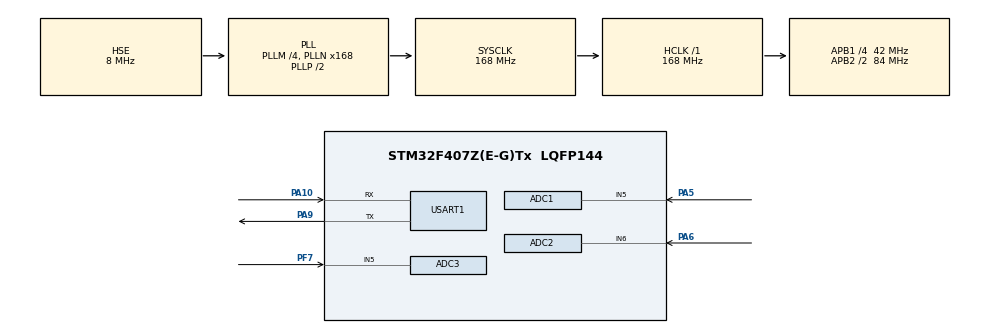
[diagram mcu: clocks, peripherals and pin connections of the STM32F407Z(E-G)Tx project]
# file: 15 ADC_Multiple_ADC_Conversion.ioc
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ADC1.Channel-1\#ChannelRegularConversion=ADC_CHANNEL_5
ADC1.DMAContinuousRequests=ENABLE
ADC1.ExternalTrigConv=ADC_EXTERNALTRIGCONV_T3_TRGO
ADC1.Mode=ADC_TRIPLEMODE_REGSIMULT
ADC1.NbrOfConversionFlag=1
ADC1.Rank-1\#ChannelRegularConversion=1
ADC1.SamplingTime-1\#ChannelRegularConversion=ADC_SAMPLETIME_15CYCLES
ADC1.master=1
ADC2.Channel-1\#ChannelRegularConversion=ADC_CHANNEL_6
ADC2.DMAAccessMode=ADC_DMAACCESSMODE_1
ADC2.Mode=ADC_TRIPLEMODE_REGSIMULT
ADC2.NbrOfConversionFlag=1
ADC2.Rank-1\#ChannelRegularConversion=1
ADC2.SamplingTime-1\#ChannelRegularConversion=ADC_SAMPLETIME_15CYCLES
ADC3.Channel-10\#ChannelRegularConversion=ADC_CHANNEL_5
ADC3.DMAAccessMode=ADC_DMAACCESSMODE_1
ADC3.NbrOfConversion=1
ADC3.NbrOfConversionFlag=1
ADC3.Rank-10\#ChannelRegularConversion=1
ADC3.SamplingTime-10\#ChannelRegularConversion=ADC_SAMPLETIME_15CYCLES
Dma.ADC1.0.Direction=DMA_PERIPH_TO_MEMORY
Dma.ADC1.0.FIFOMode=DMA_FIFOMODE_DISABLE
Dma.ADC1.0.Instance=DMA2_Stream0
Dma.ADC1.0.MemDataAlignment=DMA_MDATAALIGN_WORD
Dma.ADC1.0.MemInc=DMA_MINC_ENABLE
Dma.ADC1.0.Mode=DMA_CIRCULAR
Dma.ADC1.0.PeriphDataAlignment=DMA_PDATAALIGN_WORD
Dma.ADC1.0.PeriphInc=DMA_PINC_DISABLE
Dma.ADC1.0.Priority=DMA_PRIORITY_MEDIUM
Dma.Request0=ADC1
Mcu.Family=STM32F4
Mcu.Name=STM32F407Z(E-G)Tx
Mcu.Package=LQFP144
NVIC.DMA2_Stream0_IRQn=true\:1\:0\:true\:false\:true\:true\:true\:true
NVIC.PriorityGroup=NVIC_PRIORITYGROUP_4
PA10.Mode=Asynchronous
PA10.Signal=USART1_RX
PA13.Mode=Serial_Wire
PA13.Signal=SYS_JTMS-SWDIO
PA14.Mode=Serial_Wire
PA14.Signal=SYS_JTCK-SWCLK
PA5.Signal=ADCx_IN5
PA6.Signal=ADCx_IN6
PA9.Mode=Asynchronous
PA9.Signal=USART1_TX
PC14-OSC32_IN.Mode=LSE-External-Oscillator
PC14-OSC32_IN.Signal=RCC_OSC32_IN
PC15-OSC32_OUT.Mode=LSE-External-Oscillator
PC15-OSC32_OUT.Signal=RCC_OSC32_OUT
PF7.Mode=IN5
PF7.Signal=ADC3_IN5
PH0-OSC_IN.Mode=HSE-External-Oscillator
PH0-OSC_IN.Signal=RCC_OSC_IN
PH1-OSC_OUT.Mode=HSE-External-Oscillator
PH1-OSC_OUT.Signal=RCC_OSC_OUT
ProjectManager.HeapSize=0x200
ProjectManager.StackSize=0x400
ProjectManager.TargetToolchain=MDK-ARM V5.32
RCC.48MHZClocksFreq_Value=84000000
RCC.AHBFreq_Value=168000000
RCC.APB1CLKDivider=RCC_HCLK_DIV4
RCC.APB1Freq_Value=42000000
RCC.APB1TimFreq_Value=84000000
RCC.APB2CLKDivider=RCC_HCLK_DIV2
RCC.APB2Freq_Value=84000000
RCC.APB2TimFreq_Value=168000000
RCC.CortexFreq_Value=168000000
RCC.HCLKFreq_Value=168000000
RCC.HSE_VALUE=8000000
RCC.HSI_VALUE=16000000
RCC.PLLM=4
RCC.PLLN=168
RCC.PLLSourceVirtual=RCC_PLLSOURCE_HSE
RCC.RCC_RTC_Clock_Source=RCC_RTCCLKSOURCE_LSE
RCC.RCC_RTC_Clock_SourceVirtual=RCC_RTCCLKSOURCE_LSE
RCC.SYSCLKFreq_VALUE=168000000
RCC.SYSCLKSource=RCC_SYSCLKSOURCE_PLLCLK
RCC.VCOOutputFreq_Value=336000000
SH.ADCx_IN5.0=ADC1_IN5,IN5
SH.ADCx_IN6.0=ADC2_IN6,IN6
TIM3.Period=999
TIM3.Prescaler=8399
TIM3.TIM_MasterOutputTrigger=TIM_TRGO_UPDATE
USART1.VirtualMode=VM_ASYNC
VP_TIM3_VS_ClockSourceINT.Mode=Internal
board=custom

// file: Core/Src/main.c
/* USER CODE BEGIN Header */
/**
  ******************************************************************************
  * @file           : main.c
  * @brief          : Main program body
  ******************************************************************************
  * @attention
  *
  * Copyright (c) 2023 STMicroelectronics.
  * All rights reserved.
  *
  * This software is licensed under terms that can be found in the LICENSE file
  * in the root directory of this software component.
  * If no LICENSE file comes with this software, it is provided AS-IS.
  *
  ******************************************************************************
  */
/* USER CODE END Header */
#include "main.h"
#include "adc.h"
#include "dma.h"
#include "tim.h"
#include "usart.h"
#include "gpio.h"

/* USER CODE BEGIN PTD */
#include <stdio.h>

#ifdef __GNUC__
#define PUTCHAR_PROTOTYPE int __io_putchar(int ch)
#else
#define PUTCHAR_PROTOTYPE int fputc(int ch, FILE *f)
#endif
PUTCHAR_PROTOTYPE
{
      HAL_UART_Transmit(&huart1, (uint8_t *)&ch, 1, HAL_MAX_DELAY);
      return ch;
}
/* USER CODE END PTD */

/* USER CODE BEGIN PV */
uint32_t DataBuffer[BATCH_DATA_LEN];
/* USER CODE END PV */

void SystemClock_Config(void);

int main(void)
{

  /* MCU Configuration--------------------------------------------------------*/

  /* Reset of all peripherals, Initializes the Flash interface and the Systick. */
  HAL_Init();

  /* Configure the system clock */
  SystemClock_Config();

  /* Initialize all configured peripherals */
  MX_GPIO_Init();
  MX_DMA_Init();
  MX_ADC1_Init();
  MX_TIM3_Init();
  MX_USART1_UART_Init();
  MX_ADC2_Init();
  MX_ADC3_Init();
  /* USER CODE BEGIN 2 */
	printf("Reset\r\n");

//	/*����ADC����*/
//	HAL_ADC_Start(&hadc2);
//	HAL_ADCEx_MultiModeStart_DMA(&hadc1,DataBuffer,BATCH_DATA_LEN);
//	HAL_TIM_Base_Start(&htim3);

	/*����ADC����*/
	HAL_ADC_Start(&hadc2);
	HAL_ADC_Start(&hadc3);
	HAL_ADCEx_MultiModeStart_DMA(&hadc1,DataBuffer,BATCH_DATA_LEN);
	HAL_TIM_Base_Start(&htim3);
  /* USER CODE END 2 */

  /* Infinite loop */
  while (1)
  {

  }
}

void SystemClock_Config(void)
{
  RCC_OscInitTypeDef RCC_OscInitStruct = {0};
  RCC_ClkInitTypeDef RCC_ClkInitStruct = {0};

  /** Configure the main internal regulator output voltage
  */
  __HAL_RCC_PWR_CLK_ENABLE();
  __HAL_PWR_VOLTAGESCALING_CONFIG(PWR_REGULATOR_VOLTAGE_SCALE1);

  /** Initializes the RCC Oscillators according to the specified parameters
  * in the RCC_OscInitTypeDef structure.
  */
  RCC_OscInitStruct.OscillatorType = RCC_OSCILLATORTYPE_HSE;
  RCC_OscInitStruct.HSEState = RCC_HSE_ON;
  RCC_OscInitStruct.PLL.PLLState = RCC_PLL_ON;
  RCC_OscInitStruct.PLL.PLLSource = RCC_PLLSOURCE_HSE;
  RCC_OscInitStruct.PLL.PLLM = 4;
  RCC_OscInitStruct.PLL.PLLN = 168;
  RCC_OscInitStruct.PLL.PLLP = RCC_PLLP_DIV2;
  RCC_OscInitStruct.PLL.PLLQ = 4;
  if (HAL_RCC_OscConfig(&RCC_OscInitStruct) != HAL_OK)
  {
    Error_Handler();
  }

  /** Initializes the CPU, AHB and APB buses clocks
  */
  RCC_ClkInitStruct.ClockType = RCC_CLOCKTYPE_HCLK|RCC_CLOCKTYPE_SYSCLK
                              |RCC_CLOCKTYPE_PCLK1|RCC_CLOCKTYPE_PCLK2;
  RCC_ClkInitStruct.SYSCLKSource = RCC_SYSCLKSOURCE_PLLCLK;
  RCC_ClkInitStruct.AHBCLKDivider = RCC_SYSCLK_DIV1;
  RCC_ClkInitStruct.APB1CLKDivider = RCC_HCLK_DIV4;
  RCC_ClkInitStruct.APB2CLKDivider = RCC_HCLK_DIV2;

  if (HAL_RCC_ClockConfig(&RCC_ClkInitStruct, FLASH_LATENCY_5) != HAL_OK)
  {
    Error_Handler();
  }
}

void Error_Handler(void)
{
  __disable_irq();
  while (1)
  {
  }
}
